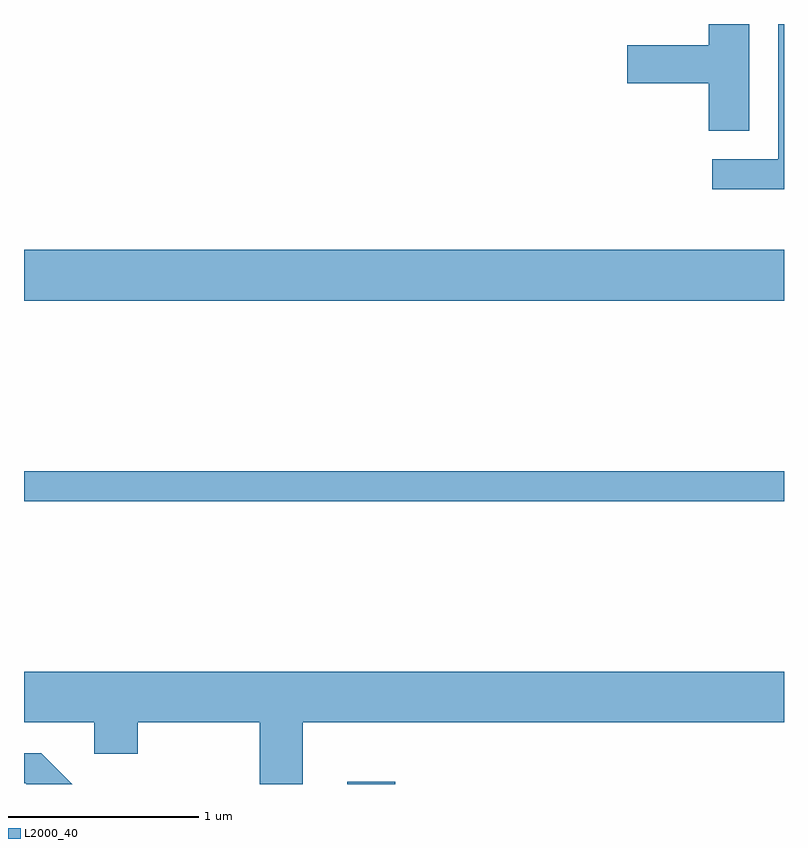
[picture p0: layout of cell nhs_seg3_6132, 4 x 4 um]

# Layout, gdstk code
import gdstk
lib = gdstk.Library(unit=1e-6, precision=1e-09)
def R(c, l, rs):  # rectangles x0, y0, x1, y1
    for r in rs: c.add(gdstk.rectangle(r[:2], r[2:], *l))
def P(c, l, *ps):  # polygons
    for p in ps: c.add(gdstk.Polygon(p, *l))
L2000_40 = (2000, 40)

nhs_seg3_6132 = lib.new_cell('nhs_seg3_6132')
R(nhs_seg3_6132, L2000_40, [(367.311,1147.892,367.564,1147.904), (365.611,1149.381,369.611,1149.539), (365.611,1150.436,369.611,1150.704)])
P(nhs_seg3_6132, L2000_40, [(369.611,1151.892),(369.581,1151.892),(369.581,1151.179),(369.233,1151.179),(369.233,1151.021),(369.611,1151.021)],
  [(369.429,1151.892),(369.216,1151.892),(369.216,1151.779),(368.786,1151.779),(368.786,1151.581),(369.216,1151.581),(369.216,1151.331),(369.429,1151.331)],
  [(367.079,1148.216),(369.611,1148.216),(369.611,1148.484),(365.611,1148.484),(365.611,1148.216),(365.981,1148.216),(365.981,1148.051),(366.209,1148.051),(366.209,1148.216),(366.851,1148.216),(366.851,1147.892),(367.079,1147.892)],
  [(365.702,1148.054),(365.611,1148.054),(365.611,1147.896),(365.619,1147.896),(365.623,1147.892),(365.864,1147.892)])

lib.write_gds('nhs_seg3_6132.gds')
